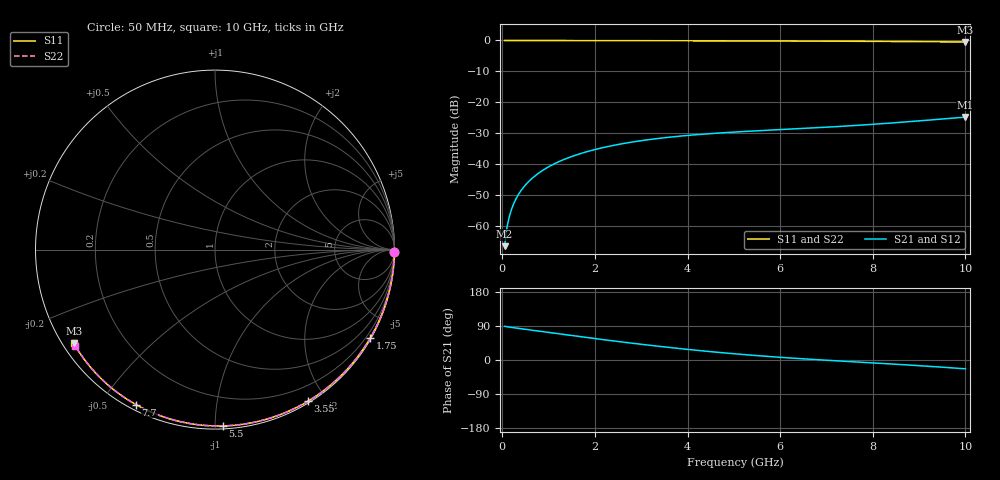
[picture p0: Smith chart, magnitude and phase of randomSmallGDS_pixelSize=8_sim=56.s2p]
! freq	dB(S11)	phase(S11)	dB(S12)	phase(S12)
!  dB(S21)	phase(S21)	dB(S22)	phase(S22)
!S-par simulation data
#  GHz  S  DB  R 50
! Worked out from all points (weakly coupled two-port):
!   200 points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, 50 MHz to 10 GHz, reference 50 ohm
!   highest |S21| = -24.81 dB at 10 GHz (marker M1); lowest = -66.6 dB at 50 MHz (marker M2)
!   lowest |S11| = -0.5 dB at 10 GHz (marker M3), VSWR 35.29, Z = 1.55 - j15.1 ohm
!   |S11| at or under -10 dB: nowhere
!   |S22| runs from -0.5 to 0.0 dB; largest |S21 - S12| = 0
!   S11 on the Smith chart (normalised r, x): 50 MHz: open; 1.75 GHz: 0.03, -3.77; 3.55 GHz: 0.02, -1.78; 5.5 GHz: 0.02, -1.05; 7.7 GHz: 0.02, -0.61; 10 GHz: 0.03, -0.30
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0.05  -0.00 -0.9  -66.60 88.9  -66.60 88.9  -0.00 -0.9
0.1  -0.00 -1.7  -60.60 87.9  -60.60 87.9  -0.00 -1.7
0.15  -0.00 -2.6  -57.10 86.9  -57.10 86.9  -0.00 -2.6
0.2  -0.00 -3.5  -54.63 85.9  -54.63 85.9  -0.00 -3.4
0.25  -0.00 -4.3  -52.72 85.1  -52.72 85.1  -0.00 -4.3
0.35  -0.00 -6.0  -49.84 83.4  -49.84 83.4  -0.00 -6.0
0.5  -0.01 -8.6  -46.79 80.9  -46.79 80.9  -0.01 -8.6
0.7  -0.01 -12.0  -43.92 77.6  -43.92 77.6  -0.01 -12.0
1  -0.02 -17.1  -40.91 72.7  -40.91 72.7  -0.02 -17.0
1.35  -0.03 -23.0  -38.42 67.0  -38.42 67.0  -0.03 -22.9
1.75  -0.04 -29.7  -36.35 60.5  -36.35 60.5  -0.04 -29.5
2.5  -0.06 -42.0  -33.68 48.8  -33.68 48.8  -0.06 -41.8
3.4  -0.08 -56.2  -31.67 35.9  -31.67 35.9  -0.08 -56.0
3.55  -0.08 -58.6  -31.41 33.8  -31.41 33.8  -0.08 -58.3
4.3  -0.10 -70.0  -30.38 24.4  -30.38 24.4  -0.10 -69.6
5.05  -0.13 -81.0  -29.62 16.0  -29.62 16.0  -0.13 -80.6
5.5  -0.14 -87.4  -29.25 11.6  -29.25 11.6  -0.14 -86.9
6.7  -0.20 -103.9  -28.33 1.5  -28.33 1.5  -0.20 -103.3
7.7  -0.27 -117.0  -27.45 -5.5  -27.45 -5.5  -0.27 -116.4
8.35  -0.32 -125.4  -26.78 -10.1  -26.78 -10.1  -0.32 -124.7
9.2  -0.40 -136.2  -25.80 -16.5  -25.80 -16.5  -0.40 -135.4
10  -0.49 -146.4  -24.81 -23.2  -24.81 -23.2  -0.49 -145.5
